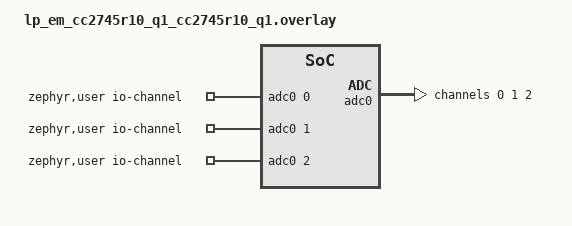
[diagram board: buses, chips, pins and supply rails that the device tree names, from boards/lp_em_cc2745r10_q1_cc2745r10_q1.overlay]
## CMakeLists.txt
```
# Copyright (c) 2026 Texas Instruments Incorporated
# SPDX-License-Identifier: Apache-2.0

cmake_minimum_required(VERSION 3.20.0)
find_package(Zephyr REQUIRED HINTS $ENV{ZEPHYR_BASE})
project(adc_lpf3_dma)

target_sources(app PRIVATE src/main.c)
```

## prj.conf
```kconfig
CONFIG_ZTEST=y
CONFIG_ADC=y
CONFIG_ADC_LPF3_DMA_DRIVEN=y
```

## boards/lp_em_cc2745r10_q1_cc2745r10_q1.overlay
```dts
/*
 * Copyright (c) 2026 Texas Instruments Incorporated
 *
 * SPDX-License-Identifier: Apache-2.0
 */

/ {
	zephyr,user {
		io-channels = <&adc0 0>, <&adc0 1>, <&adc0 2>;
	};
};

&dma {
	status = "okay";
};

&adc0 {
	status = "okay";
	#address-cells = <1>;
	#size-cells = <0>;

	channel@0 {
		reg = <0>;
		zephyr,gain = "ADC_GAIN_1";
		zephyr,reference = "ADC_REF_INTERNAL";
		zephyr,acquisition-time = <0>;
		zephyr,resolution = <12>;
	};

	channel@1 {
		reg = <1>;
		zephyr,gain = "ADC_GAIN_1";
		zephyr,reference = "ADC_REF_INTERNAL";
		zephyr,acquisition-time = <0>;
		zephyr,resolution = <12>;
	};

	channel@2 {
		reg = <2>;
		zephyr,gain = "ADC_GAIN_1";
		zephyr,reference = "ADC_REF_INTERNAL";
		zephyr,acquisition-time = <0>;
		zephyr,resolution = <12>;
	};
};
```

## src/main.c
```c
/*
 * Copyright (c) 2026 Texas Instruments Incorporated
 *
 * SPDX-License-Identifier: Apache-2.0
 *
 * Regression test for adc_lpf3 DMA-driven 3-channel sequences (extra-6).
 *
 * A 3-channel sequence produces a burst length of 3 items. The cc23x0/cc27xx
 * DMA driver requires the burst (uDMA arbitration size) to be a power of two,
 * so dma_config() returned -EINVAL inside adc_context_start_sampling() (which
 * cannot report errors) and adc_read() then blocked forever on the completion
 * semaphore. With the burst rounded up to the next power of two, the read
 * completes. Input voltages are irrelevant: the test only asserts the read
 * returns, so no wiring is needed.
 */

#include <zephyr/device.h>
#include <zephyr/drivers/adc.h>
#include <zephyr/ztest.h>

#define ADC_NODE DT_NODELABEL(adc0)

static const struct adc_dt_spec ch0 = ADC_DT_SPEC_GET_BY_IDX(DT_PATH(zephyr_user), 0);
static const struct adc_dt_spec ch1 = ADC_DT_SPEC_GET_BY_IDX(DT_PATH(zephyr_user), 1);
static const struct adc_dt_spec ch2 = ADC_DT_SPEC_GET_BY_IDX(DT_PATH(zephyr_user), 2);

ZTEST(adc_lpf3_dma, test_three_channel_dma_read)
{
	uint16_t buf[3] = {0};
	struct adc_sequence seq = {
		.channels = BIT(ch0.channel_id) | BIT(ch1.channel_id) |
			    BIT(ch2.channel_id),
		.buffer = buf,
		.buffer_size = sizeof(buf),
		.resolution = ch0.resolution,
	};
	int err;

	zassert_true(adc_is_ready_dt(&ch0), "ADC device not ready");
	zassert_equal(adc_channel_setup_dt(&ch0), 0, "ch0 setup failed");
	zassert_equal(adc_channel_setup_dt(&ch1), 0, "ch1 setup failed");
	zassert_equal(adc_channel_setup_dt(&ch2), 0, "ch2 setup failed");

	/* Without the fix this never returns (config error -> semaphore hang),
	 * so the suite times out. With the fix it returns 0.
	 */
	err = adc_read(ch0.dev, &seq);
	zassert_equal(err, 0, "3-channel DMA read failed: %d", err);
}

ZTEST_SUITE(adc_lpf3_dma, NULL, NULL, NULL, NULL, NULL);
```
